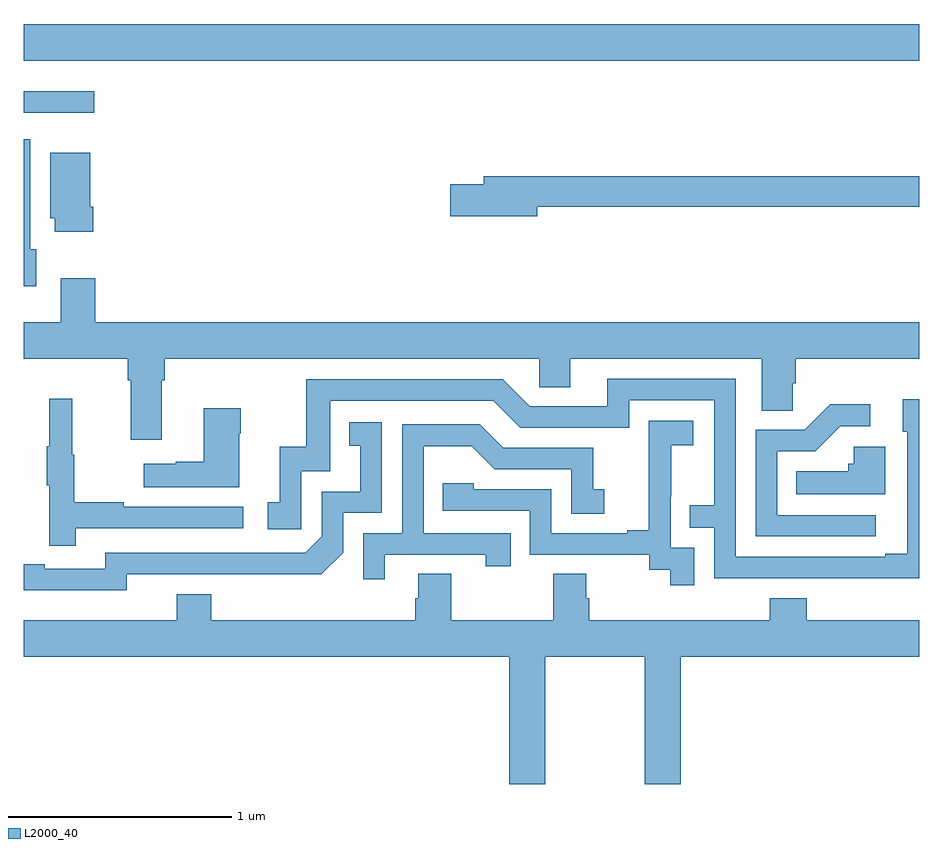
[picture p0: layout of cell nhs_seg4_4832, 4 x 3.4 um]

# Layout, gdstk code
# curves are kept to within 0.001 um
import gdstk
lib = gdstk.Library(unit=1e-6, precision=1e-09)
def R(c, l, rs):  # rectangles x0, y0, x1, y1
    for r in rs: c.add(gdstk.rectangle(r[:2], r[2:], *l))
def P(c, l, *ps):  # polygons
    for p in ps: c.add(gdstk.Polygon(p, *l))
L2000_40 = (2000, 40)

nhs_seg4_4832 = lib.new_cell('nhs_seg4_4832')
R(nhs_seg4_4832, L2000_40, [(371,817.899,371.314,817.996), (371,818.132,375,818.296)])
P(nhs_seg4_4832, L2000_40, [(371.056,817.29),(371.029,817.29),(371.029,817.78),(371,817.78),(371,817.124),(371.056,817.124)],
  [(371.309,817.48),(371.296,817.48),(371.296,817.72),(371.117,817.72),(371.117,817.428),(371.138,817.428),(371.138,817.368),(371.309,817.368)],
  [(373.294,817.48),(375,817.48),(375,817.616),(373.055,817.616),(373.055,817.58),(372.906,817.58),(372.906,817.438),(373.294,817.438)],
  [(371.617,816.704),(371.63,816.704),(371.63,816.8),(373.302,816.8),(373.302,816.673),(373.441,816.673),(373.441,816.8),(374.297,816.8),(374.297,816.568),(374.436,816.568),(374.436,816.691),(374.45,816.691),(374.45,816.8),(375,816.8),(375,816.964),(371.318,816.964),(371.318,817.159),(371.165,817.159),(371.165,816.964),(371,816.964),(371,816.8),(371.465,816.8),(371.465,816.704),(371.477,816.704),(371.477,816.438),(371.617,816.438)],
  [(375,816.619),(374.927,816.619),(374.927,816.474),(374.946,816.474),(374.946,815.929),(374.849,815.929),(374.849,815.916),(374.181,815.916),(374.181,816.711),(373.607,816.711),(373.607,816.588),(373.26,816.588),(373.14,816.708),(372.261,816.708),(372.261,816.406),(372.143,816.406),(372.143,816.159),(372.09,816.159),(372.09,816.039),(372.24,816.039),(372.24,816.297),(372.369,816.297),(372.369,816.612),(373.098,816.612),(373.218,816.492),(373.704,816.492),(373.704,816.615),(374.085,816.615),(374.085,816.146),(373.975,816.146),(373.975,816.045),(374.085,816.045),(374.085,815.82),(375,815.819)],
  [(371.231,816.042),(371.98,816.042),(371.98,816.138),(371.447,816.138),(371.447,816.158),(371.224,816.158),(371.224,816.372),(371.216,816.372),(371.216,816.622),(371.114,816.622),(371.114,816.409),(371.103,816.409),(371.103,816.235),(371.114,816.235),(371.114,815.964),(371.231,815.964)],
  [(374.806,816.102),(374.367,816.102),(374.367,816.387),(374.536,816.387),(374.647,816.498),(374.782,816.498),(374.782,816.596),(374.603,816.596),(374.49,816.483),(374.271,816.483),(374.271,816.006),(374.806,816.006)],
  [(371.962,816.467),(371.97,816.467),(371.97,816.58),(371.804,816.58),(371.804,816.341),(371.678,816.341),(371.678,816.331),(371.535,816.331),(371.535,816.227),(371.962,816.227)],
  [(373.995,815.955),(373.89,815.955),(373.89,816.185),(373.892,816.185),(373.892,816.413),(373.99,816.413),(373.99,816.523),(373.792,816.523),(373.792,816.317),(373.793,816.317),(373.793,816.034),(373.697,816.034),(373.697,816.021),(373.356,816.021),(373.356,816.216),(373.011,816.216),(373.011,816.243),(372.871,816.243),(372.871,816.12),(373.26,816.12),(373.26,815.925),(373.794,815.925),(373.794,815.857),(373.887,815.857),(373.887,815.787),(373.995,815.787)],
  [(371.46,815.838),(372.328,815.837),(372.426,815.934),(372.426,816.111),(372.6,816.111),(372.6,816.517),(372.454,816.517),(372.454,816.411),(372.503,816.411),(372.503,816.207),(372.33,816.207),(372.33,816.006),(372.258,815.934),(371.364,815.934),(371.364,815.862),(371.092,815.862),(371.092,815.882),(371,815.882),(371,815.766),(371.46,815.765)],
  [(372.613,815.925),(373.064,815.925),(373.064,815.874),(373.175,815.874),(373.175,816.021),(372.786,816.021),(372.786,816.41),(373,816.41),(373.104,816.306),(373.446,816.306),(373.446,816.108),(373.594,816.108),(373.594,816.217),(373.545,816.217),(373.545,816.402),(373.141,816.402),(373.036,816.507),(372.69,816.507),(372.69,816.021),(372.516,816.021),(372.516,815.814),(372.613,815.814)],
  [(374.848,816.406),(374.709,816.406),(374.709,816.33),(374.683,816.33),(374.683,816.298),(374.452,816.298),(374.452,816.194),(374.848,816.194)],
  [(373.169,814.9),(373.329,814.9),(373.329,815.468),(373.774,815.468),(373.774,814.9),(373.934,814.9),(373.934,815.468),(375,815.468),(375,815.632),(374.498,815.632),(374.498,815.731),(374.333,815.731),(374.333,815.632),(373.526,815.632),(373.526,815.73),(373.513,815.73),(373.513,815.84),(373.366,815.84),(373.366,815.632),(372.909,815.632),(372.909,815.84),(372.761,815.84),(372.761,815.73),(372.749,815.73),(372.749,815.632),(371.837,815.632),(371.837,815.749),(371.684,815.749),(371.684,815.632),(371,815.632),(371,815.468),(373.169,815.468)])

lib.write_gds('nhs_seg4_4832.gds')
